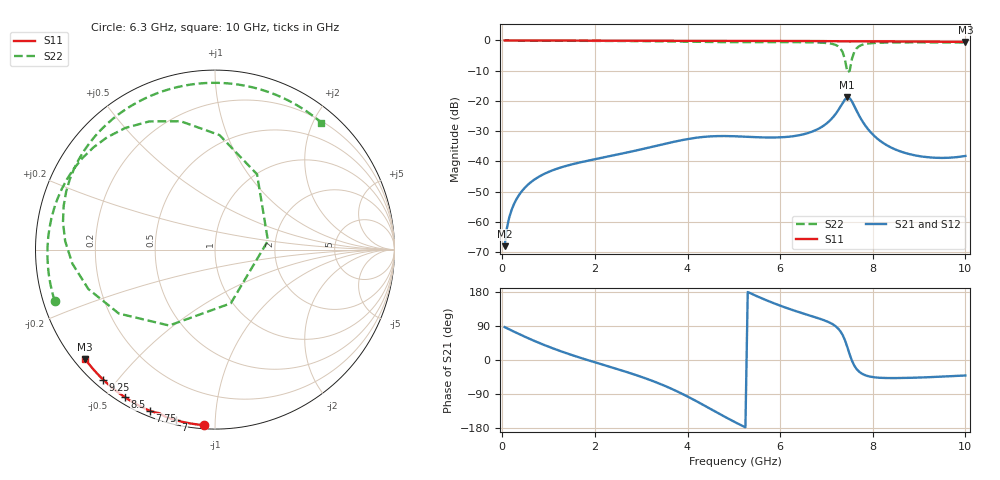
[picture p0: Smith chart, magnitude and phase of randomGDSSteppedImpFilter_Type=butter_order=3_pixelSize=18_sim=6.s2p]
! freq	dB(S11)	phase(S11)	dB(S12)	phase(S12)
!  dB(S21)	phase(S21)	dB(S22)	phase(S22)
!S-par simulation data
#  GHz  S  DB  R 50
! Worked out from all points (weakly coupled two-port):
!   200 points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, 50 MHz to 10 GHz, reference 50 ohm
!   highest |S21| = -18.85 dB at 7.45 GHz (marker M1); lowest = -68.1 dB at 50 MHz (marker M2)
!   lowest |S11| = -0.5 dB at 10 GHz (marker M3), VSWR 36.19, Z = 1.57 - j18.3 ohm
!   |S11| at or under -10 dB: nowhere
!   |S22| runs from -10.5 to 0.0 dB; largest |S21 - S12| = 0
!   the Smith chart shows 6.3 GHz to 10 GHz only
!   S11 on the Smith chart (normalised r, x): 6.3 GHz: 0.02, -0.94; 7 GHz: 0.02, -0.80; 7.75 GHz: 0.02, -0.67; 8.5 GHz: 0.02, -0.56; 9.25 GHz: 0.03, -0.46; 10 GHz: 0.03, -0.37
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0.05  -0.00 -0.8  -68.06 86.9  -68.06 86.9  -0.00 -5.2
0.3  -0.01 -4.9  -52.68 72.0  -52.68 72.0  -0.04 -30.7
0.85  -0.02 -13.7  -44.57 42.3  -44.57 42.3  -0.10 -81.9
1.75  -0.04 -28.0  -40.11 3.3  -40.11 3.3  -0.14 -148.4
2.6  -0.05 -41.1  -37.39 -28.4  -37.39 -28.4  -0.18 157.4
3.4  -0.07 -53.2  -34.60 -62.7  -34.60 -62.7  -0.29 99.4
3.85  -0.08 -59.8  -33.07 -87.2  -33.07 -87.2  -0.38 58.5
4.3  -0.10 -66.3  -31.98 -115.9  -31.98 -115.9  -0.48 10.9
4.65  -0.11 -71.2  -31.64 -139.5  -31.64 -139.5  -0.54 -27.6
5.05  -0.12 -76.8  -31.72 -165.6  -31.72 -165.6  -0.55 -68.5
5.55  -0.14 -83.6  -32.05 165.6  -32.05 165.6  -0.54 -111.5
6.3  -0.17 -93.7  -31.64 130.5  -31.64 130.5  -0.55 -162.3
6.7  -0.20 -98.9  -30.11 115.0  -30.11 115.0  -0.63 172.6
7  -0.22 -102.8  -27.49 102.4  -27.49 102.4  -0.85 150.1
7.3  -0.26 -106.8  -21.95 75.9  -21.95 75.9  -2.61 105.0
7.45  -0.32 -108.5  -18.85 34.4  -18.85 34.4  -10.48 9.5
7.55  -0.31 -109.4  -20.15 -1.8  -20.15 -1.8  -6.12 -121.1
7.75  -0.28 -112.0  -26.07 -34.8  -26.07 -34.8  -1.56 176.8
8.35  -0.31 -119.5  -35.07 -47.7  -35.07 -47.7  -0.68 128.0
8.5  -0.32 -121.4  -36.15 -47.7  -36.15 -47.7  -0.66 120.0
9.25  -0.39 -130.6  -38.72 -45.2  -38.72 -45.2  -0.64 84.4
10  -0.48 -139.9  -38.21 -41.0  -38.21 -41.0  -0.70 50.0
